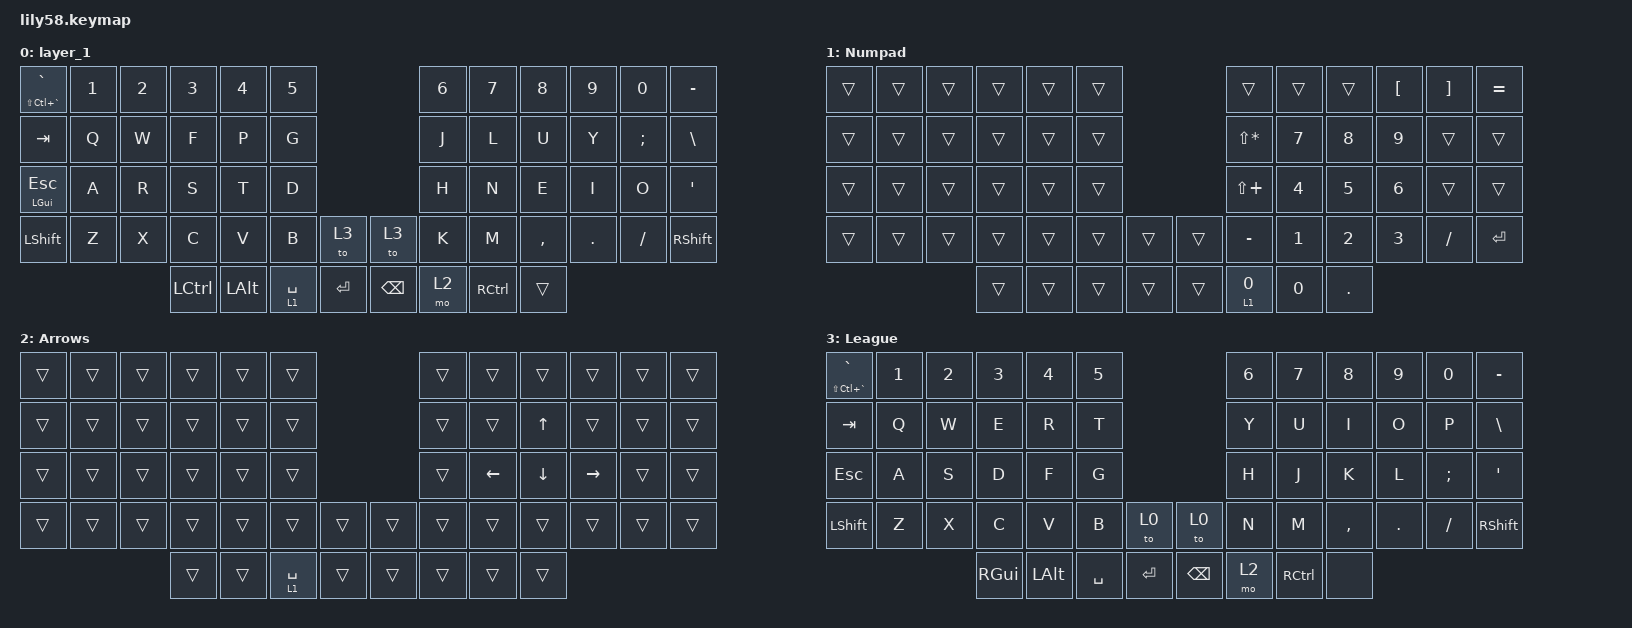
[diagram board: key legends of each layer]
/*
 * Copyright (c) 2020 The ZMK Contributors
 *
 * SPDX-License-Identifier: MIT
 */

#include <behaviors.dtsi>
#include <dt-bindings/zmk/keys.h>

&mt { tapping-term-ms = <125>; };

/ {
    keymap {
        compatible = "zmk,keymap";

        layer_1 {
            bindings = <
&mt LS(LC(GRAVE)) GRAVE  &kp N1  &kp N2  &kp N3     &kp N4    &kp N5                            &kp N6  &kp N7     &kp N8     &kp N9   &kp N0    &kp MINUS
&kp TAB                  &kp Q   &kp W   &kp F      &kp P     &kp G                             &kp J   &kp L      &kp U      &kp Y    &kp SEMI  &kp BSLH
&mt LEFT_GUI ESCAPE      &kp A   &kp R   &kp S      &kp T     &kp D                             &kp H   &kp N      &kp E      &kp I    &kp O     &kp SQT
&kp LSHFT                &kp Z   &kp X   &kp C      &kp V     &kp B        &to 3      &to 3     &kp K   &kp M      &kp COMMA  &kp DOT  &kp FSLH  &kp RSHFT
                                         &kp LCTRL  &kp LALT  &lt 1 SPACE  &kp RET    &kp BSPC  &mo 2   &kp RCTRL  &trans
            >;
        };

        Numpad {
            bindings = <
&trans  &trans  &trans  &trans  &trans  &trans                    &trans        &trans  &trans   &kp LBKT  &kp RBKT  &kp EQUAL
&trans  &trans  &trans  &trans  &trans  &trans                    &kp LS(STAR)  &kp N7  &kp N8   &kp N9    &trans    &trans
&trans  &trans  &trans  &trans  &trans  &trans                    &kp LS(PLUS)  &kp N4  &kp N5   &kp N6    &trans    &trans
&trans  &trans  &trans  &trans  &trans  &trans  &trans    &trans  &kp MINUS     &kp N1  &kp N2   &kp N3    &kp FSLH  &kp RET
                        &trans  &trans  &trans  &trans    &trans  &lt 1 N0      &kp N0  &kp DOT
            >;
        };

        Arrows {
            bindings = <
&trans  &trans  &trans  &trans  &trans  &trans                         &trans  &trans    &trans    &trans     &trans  &trans
&trans  &trans  &trans  &trans  &trans  &trans                         &trans  &trans    &kp UP    &trans     &trans  &trans
&trans  &trans  &trans  &trans  &trans  &trans                         &trans  &kp LEFT  &kp DOWN  &kp RIGHT  &trans  &trans
&trans  &trans  &trans  &trans  &trans  &trans       &trans    &trans  &trans  &trans    &trans    &trans     &trans  &trans
                        &trans  &trans  &lt 1 SPACE  &trans    &trans  &trans  &trans    &trans
            >;
        };

        League {
            bindings = <
&mt LS(LC(GRAVE)) GRAVE  &kp N1  &kp N2  &kp N3    &kp N4        &kp N5                          &kp N6  &kp N7     &kp N8     &kp N9   &kp N0    &kp MINUS
&kp TAB                  &kp Q   &kp W   &kp E     &kp R         &kp T                           &kp Y   &kp U      &kp I      &kp O    &kp P     &kp BSLH
&kp ESC                  &kp A   &kp S   &kp D     &kp F         &kp G                           &kp H   &kp J      &kp K      &kp L    &kp SEMI  &kp SQT
&kp LSHFT                &kp Z   &kp X   &kp C     &kp V         &kp B      &to 0      &to 0     &kp N   &kp M      &kp COMMA  &kp DOT  &kp FSLH  &kp RSHFT
                                         &kp RGUI  &kp LEFT_ALT  &kp SPACE  &kp RET    &kp BSPC  &mo 2   &kp RCTRL  &none
            >;
        };
    };
};
